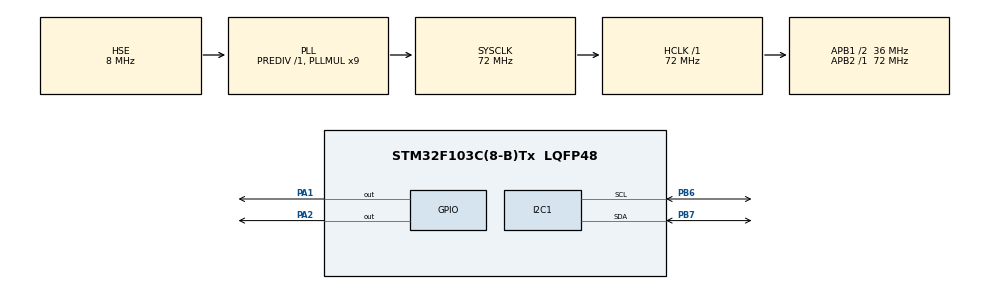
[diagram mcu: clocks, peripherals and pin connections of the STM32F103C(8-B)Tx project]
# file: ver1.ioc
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Mcu.Family=STM32F1
Mcu.Name=STM32F103C(8-B)Tx
Mcu.Package=LQFP48
NVIC.PriorityGroup=NVIC_PRIORITYGROUP_4
PA1.Signal=GPIO_Output
PA13.Mode=Serial_Wire
PA13.Signal=SYS_JTMS-SWDIO
PA14.Mode=Serial_Wire
PA14.Signal=SYS_JTCK-SWCLK
PA2.Signal=GPIO_Output
PB6.Mode=I2C
PB6.Signal=I2C1_SCL
PB7.Mode=I2C
PB7.Signal=I2C1_SDA
PD0-OSC_IN.Mode=HSE-External-Oscillator
PD0-OSC_IN.Signal=RCC_OSC_IN
PD1-OSC_OUT.Mode=HSE-External-Oscillator
PD1-OSC_OUT.Signal=RCC_OSC_OUT
ProjectManager.HeapSize=0x200
ProjectManager.StackSize=0x400
ProjectManager.TargetToolchain=MDK-ARM V5.32
RCC.AHBFreq_Value=72000000
RCC.APB1CLKDivider=RCC_HCLK_DIV2
RCC.APB1Freq_Value=36000000
RCC.APB1TimFreq_Value=72000000
RCC.APB2Freq_Value=72000000
RCC.APB2TimFreq_Value=72000000
RCC.HCLKFreq_Value=72000000
RCC.PLLMUL=RCC_PLL_MUL9
RCC.PLLSourceVirtual=RCC_PLLSOURCE_HSE
RCC.SYSCLKFreq_VALUE=72000000
RCC.SYSCLKSource=RCC_SYSCLKSOURCE_PLLCLK
RCC.USBFreq_Value=72000000
TIM1.Prescaler=71
VP_TIM1_VS_ClockSourceINT.Mode=Internal
board=custom

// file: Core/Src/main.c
/* USER CODE BEGIN Header */
/**
  ******************************************************************************
  * @file           : main.c
  * @brief          : Main program body
  ******************************************************************************
  * @attention
  *
  * Copyright (c) 2025 STMicroelectronics.
  * All rights reserved.
  *
  * This software is licensed under terms that can be found in the LICENSE file
  * in the root directory of this software component.
  * If no LICENSE file comes with this software, it is provided AS-IS.
  *
  ******************************************************************************
  */
/* USER CODE END Header */
#include "main.h"

I2C_HandleTypeDef hi2c1;

TIM_HandleTypeDef htim1;

void SystemClock_Config(void);
static void MX_GPIO_Init(void);
static void MX_TIM1_Init(void);
static void MX_I2C1_Init(void);

/* USER CODE BEGIN 0 */

#define	as5600_address	0x36<<1
#define STATUS_REG			0x0B
#define Raw_angle_1			0x0C
#define Raw_angle_2			0x0D
uint8_t check;
uint8_t angle_1;
uint8_t angle_2;
float angle_sensor;

float read_angle(){
	int raw_angle;
	HAL_I2C_Mem_Read(&hi2c1, as5600_address, STATUS_REG, 1, &check, 1, 1000);
	HAL_I2C_Mem_Read(&hi2c1, as5600_address, Raw_angle_1, 1, &angle_1, 1, 1000);
	HAL_I2C_Mem_Read(&hi2c1, as5600_address, Raw_angle_2, 1, &angle_2, 1, 1000);
	HAL_Delay(100);
	raw_angle = ((angle_1 << 8) | angle_2) & 0x0FFF;
	float angle_deg = (raw_angle * 360.0f) / 4096.0f;
	return angle_deg;
}

#define DIR_PIN     GPIO_PIN_1
#define DIR_PORT    GPIOA
#define STEP_PIN    GPIO_PIN_2
#define STEP_PORT   GPIOA

#define MICROSTEP   8.0f
#define STEP_ANGLE  (1.8f / MICROSTEP)

float current_angle = 0.0f;

void microDelay(uint16_t delay)
{
    __HAL_TIM_SET_COUNTER(&htim1, 0);
    while (__HAL_TIM_GET_COUNTER(&htim1) < delay);
}

void stepAngle(float angle, uint8_t direction)
{
    int steps = (int)(angle / STEP_ANGLE);
    if (direction == 1)
        HAL_GPIO_WritePin(DIR_PORT, DIR_PIN, GPIO_PIN_SET);
    else
        HAL_GPIO_WritePin(DIR_PORT, DIR_PIN, GPIO_PIN_RESET);

    for (int i = 0; i < steps; i++)
    {
        HAL_GPIO_WritePin(STEP_PORT, STEP_PIN, GPIO_PIN_SET);
        microDelay(300);  // t?c d?, c� th? di?u ch?nh nhanh/ch?m
        HAL_GPIO_WritePin(STEP_PORT, STEP_PIN, GPIO_PIN_RESET);
        microDelay(300);
    }
}

void goToAngle(float target_angle)
{
    float delta = target_angle - current_angle;
    if (delta == 0) return;

    if (delta > 0)
        stepAngle(delta, 1);
    else
        stepAngle(-delta, 0);

    current_angle = target_angle;
}
/* USER CODE END 0 */

int main(void)
{

  /* MCU Configuration--------------------------------------------------------*/

  /* Reset of all peripherals, Initializes the Flash interface and the Systick. */
  HAL_Init();

  /* Configure the system clock */
  SystemClock_Config();

  /* Initialize all configured peripherals */
  MX_GPIO_Init();
  MX_TIM1_Init();
  MX_I2C1_Init();
  /* USER CODE BEGIN 2 */
 HAL_TIM_Base_Start(&htim1);
  /* USER CODE END 2 */

  /* Infinite loop */
  while (1)
  {

    /* USER CODE BEGIN 3 */
		angle_sensor = read_angle();
		microDelay(10000);
		goToAngle(360);
		HAL_Delay(20);
		goToAngle(0);
		HAL_Delay(20);
  }
  /* USER CODE END 3 */
}

void SystemClock_Config(void)
{
  RCC_OscInitTypeDef RCC_OscInitStruct = {0};
  RCC_ClkInitTypeDef RCC_ClkInitStruct = {0};

  /** Initializes the RCC Oscillators according to the specified parameters
  * in the RCC_OscInitTypeDef structure.
  */
  RCC_OscInitStruct.OscillatorType = RCC_OSCILLATORTYPE_HSE;
  RCC_OscInitStruct.HSEState = RCC_HSE_ON;
  RCC_OscInitStruct.HSEPredivValue = RCC_HSE_PREDIV_DIV1;
  RCC_OscInitStruct.HSIState = RCC_HSI_ON;
  RCC_OscInitStruct.PLL.PLLState = RCC_PLL_ON;
  RCC_OscInitStruct.PLL.PLLSource = RCC_PLLSOURCE_HSE;
  RCC_OscInitStruct.PLL.PLLMUL = RCC_PLL_MUL9;
  if (HAL_RCC_OscConfig(&RCC_OscInitStruct) != HAL_OK)
  {
    Error_Handler();
  }

  /** Initializes the CPU, AHB and APB buses clocks
  */
  RCC_ClkInitStruct.ClockType = RCC_CLOCKTYPE_HCLK|RCC_CLOCKTYPE_SYSCLK
                              |RCC_CLOCKTYPE_PCLK1|RCC_CLOCKTYPE_PCLK2;
  RCC_ClkInitStruct.SYSCLKSource = RCC_SYSCLKSOURCE_PLLCLK;
  RCC_ClkInitStruct.AHBCLKDivider = RCC_SYSCLK_DIV1;
  RCC_ClkInitStruct.APB1CLKDivider = RCC_HCLK_DIV2;
  RCC_ClkInitStruct.APB2CLKDivider = RCC_HCLK_DIV1;

  if (HAL_RCC_ClockConfig(&RCC_ClkInitStruct, FLASH_LATENCY_2) != HAL_OK)
  {
    Error_Handler();
  }
}

static void MX_I2C1_Init(void)
{

  hi2c1.Instance = I2C1;
  hi2c1.Init.ClockSpeed = 100000;
  hi2c1.Init.DutyCycle = I2C_DUTYCYCLE_2;
  hi2c1.Init.OwnAddress1 = 0;
  hi2c1.Init.AddressingMode = I2C_ADDRESSINGMODE_7BIT;
  hi2c1.Init.DualAddressMode = I2C_DUALADDRESS_DISABLE;
  hi2c1.Init.OwnAddress2 = 0;
  hi2c1.Init.GeneralCallMode = I2C_GENERALCALL_DISABLE;
  hi2c1.Init.NoStretchMode = I2C_NOSTRETCH_DISABLE;
  if (HAL_I2C_Init(&hi2c1) != HAL_OK)
  {
    Error_Handler();
  }

}

static void MX_TIM1_Init(void)
{

  TIM_ClockConfigTypeDef sClockSourceConfig = {0};
  TIM_MasterConfigTypeDef sMasterConfig = {0};

  htim1.Instance = TIM1;
  htim1.Init.Prescaler = 71;
  htim1.Init.CounterMode = TIM_COUNTERMODE_UP;
  htim1.Init.Period = 65535;
  htim1.Init.ClockDivision = TIM_CLOCKDIVISION_DIV1;
  htim1.Init.RepetitionCounter = 0;
  htim1.Init.AutoReloadPreload = TIM_AUTORELOAD_PRELOAD_DISABLE;
  if (HAL_TIM_Base_Init(&htim1) != HAL_OK)
  {
    Error_Handler();
  }
  sClockSourceConfig.ClockSource = TIM_CLOCKSOURCE_INTERNAL;
  if (HAL_TIM_ConfigClockSource(&htim1, &sClockSourceConfig) != HAL_OK)
  {
    Error_Handler();
  }
  sMasterConfig.MasterOutputTrigger = TIM_TRGO_RESET;
  sMasterConfig.MasterSlaveMode = TIM_MASTERSLAVEMODE_DISABLE;
  if (HAL_TIMEx_MasterConfigSynchronization(&htim1, &sMasterConfig) != HAL_OK)
  {
    Error_Handler();
  }

}

static void MX_GPIO_Init(void)
{
  GPIO_InitTypeDef GPIO_InitStruct = {0};

  /* GPIO Ports Clock Enable */
  __HAL_RCC_GPIOD_CLK_ENABLE();
  __HAL_RCC_GPIOA_CLK_ENABLE();
  __HAL_RCC_GPIOB_CLK_ENABLE();

  /*Configure GPIO pin Output Level */
  HAL_GPIO_WritePin(GPIOA, GPIO_PIN_1|GPIO_PIN_2, GPIO_PIN_RESET);

  /*Configure GPIO pins : PA1 PA2 */
  GPIO_InitStruct.Pin = GPIO_PIN_1|GPIO_PIN_2;
  GPIO_InitStruct.Mode = GPIO_MODE_OUTPUT_PP;
  GPIO_InitStruct.Pull = GPIO_NOPULL;
  GPIO_InitStruct.Speed = GPIO_SPEED_FREQ_LOW;
  HAL_GPIO_Init(GPIOA, &GPIO_InitStruct);

}

void Error_Handler(void)
{
  __disable_irq();
  while (1)
  {
  }
}
